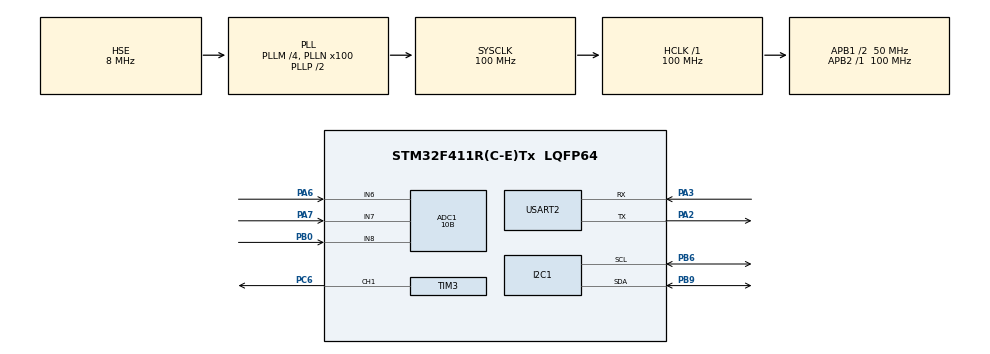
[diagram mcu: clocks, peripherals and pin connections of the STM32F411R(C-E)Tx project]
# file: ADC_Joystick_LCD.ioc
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ADC1.Channel-0\#ChannelRegularConversion=ADC_CHANNEL_7
ADC1.Channel-1\#ChannelRegularConversion=ADC_CHANNEL_6
ADC1.Channel-2\#ChannelRegularConversion=ADC_CHANNEL_8
ADC1.ContinuousConvMode=ENABLE
ADC1.DMAContinuousRequests=ENABLE
ADC1.NbrOfConversion=3
ADC1.NbrOfConversionFlag=1
ADC1.Rank-0\#ChannelRegularConversion=1
ADC1.Rank-1\#ChannelRegularConversion=2
ADC1.Rank-2\#ChannelRegularConversion=3
ADC1.Resolution=ADC_RESOLUTION_10B
ADC1.SamplingTime-0\#ChannelRegularConversion=ADC_SAMPLETIME_112CYCLES
ADC1.SamplingTime-1\#ChannelRegularConversion=ADC_SAMPLETIME_112CYCLES
ADC1.SamplingTime-2\#ChannelRegularConversion=ADC_SAMPLETIME_112CYCLES
ADC1.ScanConvMode=ENABLE
ADC1.master=1
Dma.ADC1.0.Direction=DMA_PERIPH_TO_MEMORY
Dma.ADC1.0.FIFOMode=DMA_FIFOMODE_DISABLE
Dma.ADC1.0.Instance=DMA2_Stream0
Dma.ADC1.0.MemDataAlignment=DMA_MDATAALIGN_HALFWORD
Dma.ADC1.0.MemInc=DMA_MINC_ENABLE
Dma.ADC1.0.Mode=DMA_CIRCULAR
Dma.ADC1.0.PeriphDataAlignment=DMA_PDATAALIGN_HALFWORD
Dma.ADC1.0.PeriphInc=DMA_PINC_DISABLE
Dma.ADC1.0.Priority=DMA_PRIORITY_LOW
Dma.Request0=ADC1
Mcu.Family=STM32F4
Mcu.Name=STM32F411R(C-E)Tx
Mcu.Package=LQFP64
NVIC.DMA2_Stream0_IRQn=true\:0\:0\:false\:false\:true\:false\:true\:true
NVIC.PriorityGroup=NVIC_PRIORITYGROUP_4
NVIC.USART2_IRQn=true\:0\:0\:false\:false\:true\:true\:true\:true
PA13.Mode=Serial_Wire
PA13.Signal=SYS_JTMS-SWDIO
PA14.Mode=Serial_Wire
PA14.Signal=SYS_JTCK-SWCLK
PA2.Mode=Asynchronous
PA2.Signal=USART2_TX
PA3.Mode=Asynchronous
PA3.Signal=USART2_RX
PA6.Signal=ADCx_IN6
PA7.Signal=ADCx_IN7
PB0.Signal=ADCx_IN8
PB6.Mode=I2C
PB6.Signal=I2C1_SCL
PB9.Mode=I2C
PB9.Signal=I2C1_SDA
PC6.Signal=S_TIM3_CH1
PH0\ -\ OSC_IN.Mode=HSE-External-Oscillator
PH0\ -\ OSC_IN.Signal=RCC_OSC_IN
PH1\ -\ OSC_OUT.Mode=HSE-External-Oscillator
PH1\ -\ OSC_OUT.Signal=RCC_OSC_OUT
ProjectManager.HeapSize=0x200
ProjectManager.StackSize=0x400
ProjectManager.TargetToolchain=STM32CubeIDE
RCC.48MHZClocksFreq_Value=50000000
RCC.AHBFreq_Value=100000000
RCC.APB1CLKDivider=RCC_HCLK_DIV2
RCC.APB1Freq_Value=50000000
RCC.APB1TimFreq_Value=100000000
RCC.APB2Freq_Value=100000000
RCC.APB2TimFreq_Value=100000000
RCC.CortexFreq_Value=100000000
RCC.HCLKFreq_Value=100000000
RCC.HSE_VALUE=8000000
RCC.HSI_VALUE=16000000
RCC.LSE_VALUE=32768
RCC.PLLM=4
RCC.PLLN=100
RCC.PLLSourceVirtual=RCC_PLLSOURCE_HSE
RCC.SYSCLKFreq_VALUE=100000000
RCC.SYSCLKSource=RCC_SYSCLKSOURCE_PLLCLK
RCC.VCOOutputFreq_Value=200000000
SH.ADCx_IN6.0=ADC1_IN6,IN6
SH.ADCx_IN7.0=ADC1_IN7,IN7
SH.ADCx_IN8.0=ADC1_IN8,IN8
SH.S_TIM3_CH1.0=TIM3_CH1,PWM Generation1 CH1
TIM3.Channel-PWM\ Generation1\ CH1=TIM_CHANNEL_1
TIM3.Prescaler=1000-1
USART2.VirtualMode=VM_ASYNC
VP_TIM3_VS_ClockSourceINT.Mode=Internal
board=custom

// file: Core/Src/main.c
/* USER CODE BEGIN Header */
/**
  ******************************************************************************
  * @file           : main.c
  * @brief          : Main program body
  ******************************************************************************
  * @attention
  *
  * Copyright (c) 2023 STMicroelectronics.
  * All rights reserved.
  *
  * This software is licensed under terms that can be found in the LICENSE file
  * in the root directory of this software component.
  * If no LICENSE file comes with this software, it is provided AS-IS.
  *
  ******************************************************************************
  */
/* USER CODE END Header */
#include "main.h"
#include "adc.h"
#include "dma.h"
#include "i2c.h"
#include "tim.h"
#include "usart.h"
#include "gpio.h"

/* USER CODE BEGIN Includes */
#include "I2C_LCD.h"
#include "stdio.h"

/* USER CODE END Includes */

/* USER CODE BEGIN PV */
uint16_t adcValue[3];
uint8_t buff[30];
/* USER CODE END PV */

void SystemClock_Config(void);

int main(void)
{

  /* MCU Configuration--------------------------------------------------------*/

  /* Reset of all peripherals, Initializes the Flash interface and the Systick. */
  HAL_Init();

  /* Configure the system clock */
  SystemClock_Config();

  /* Initialize all configured peripherals */
  MX_GPIO_Init();
  MX_DMA_Init();
  MX_ADC1_Init();
  MX_I2C1_Init();
  MX_USART2_UART_Init();
  MX_TIM3_Init();
  /* USER CODE BEGIN 2 */
  LCD_Init();
  HAL_ADC_Start_DMA(&hadc1, adcValue, 3);
  HAL_TIM_PWM_Start(&htim3, TIM_CHANNEL_1);

  int row, col = 0;
  /* USER CODE END 2 */

  /* Infinite loop */
  while (1)
  {

    /* USER CODE BEGIN 3 */

    if(adcValue[1]==0)
    {
      sprintf(buff, "left       ");
    }
    else if(adcValue[1]>1000)
    {
      sprintf(buff, "right       ");
    }
    if(adcValue[0]==0)
    {
      sprintf(buff, "straight    ");
    }
    else if(adcValue[0]>1000)
    {
      sprintf(buff, "rearguard    ");
    }
    if(adcValue[2]==0)
    {
      sprintf(buff, "              ");
    }
    LCD_Put_cur(0,0);
    LCD_Send_string(buff);
    HAL_Delay(1000);

  }

  /* USER CODE END 3 */
}

void SystemClock_Config(void)
{
  RCC_OscInitTypeDef RCC_OscInitStruct = {0};
  RCC_ClkInitTypeDef RCC_ClkInitStruct = {0};

  /** Configure the main internal regulator output voltage
  */
  __HAL_RCC_PWR_CLK_ENABLE();
  __HAL_PWR_VOLTAGESCALING_CONFIG(PWR_REGULATOR_VOLTAGE_SCALE1);

  /** Initializes the RCC Oscillators according to the specified parameters
  * in the RCC_OscInitTypeDef structure.
  */
  RCC_OscInitStruct.OscillatorType = RCC_OSCILLATORTYPE_HSE;
  RCC_OscInitStruct.HSEState = RCC_HSE_ON;
  RCC_OscInitStruct.PLL.PLLState = RCC_PLL_ON;
  RCC_OscInitStruct.PLL.PLLSource = RCC_PLLSOURCE_HSE;
  RCC_OscInitStruct.PLL.PLLM = 4;
  RCC_OscInitStruct.PLL.PLLN = 100;
  RCC_OscInitStruct.PLL.PLLP = RCC_PLLP_DIV2;
  RCC_OscInitStruct.PLL.PLLQ = 4;
  if (HAL_RCC_OscConfig(&RCC_OscInitStruct) != HAL_OK)
  {
    Error_Handler();
  }

  /** Initializes the CPU, AHB and APB buses clocks
  */
  RCC_ClkInitStruct.ClockType = RCC_CLOCKTYPE_HCLK|RCC_CLOCKTYPE_SYSCLK
                              |RCC_CLOCKTYPE_PCLK1|RCC_CLOCKTYPE_PCLK2;
  RCC_ClkInitStruct.SYSCLKSource = RCC_SYSCLKSOURCE_PLLCLK;
  RCC_ClkInitStruct.AHBCLKDivider = RCC_SYSCLK_DIV1;
  RCC_ClkInitStruct.APB1CLKDivider = RCC_HCLK_DIV2;
  RCC_ClkInitStruct.APB2CLKDivider = RCC_HCLK_DIV1;

  if (HAL_RCC_ClockConfig(&RCC_ClkInitStruct, FLASH_LATENCY_3) != HAL_OK)
  {
    Error_Handler();
  }
}

void Error_Handler(void)
{
  __disable_irq();
  while (1)
  {
  }
}
